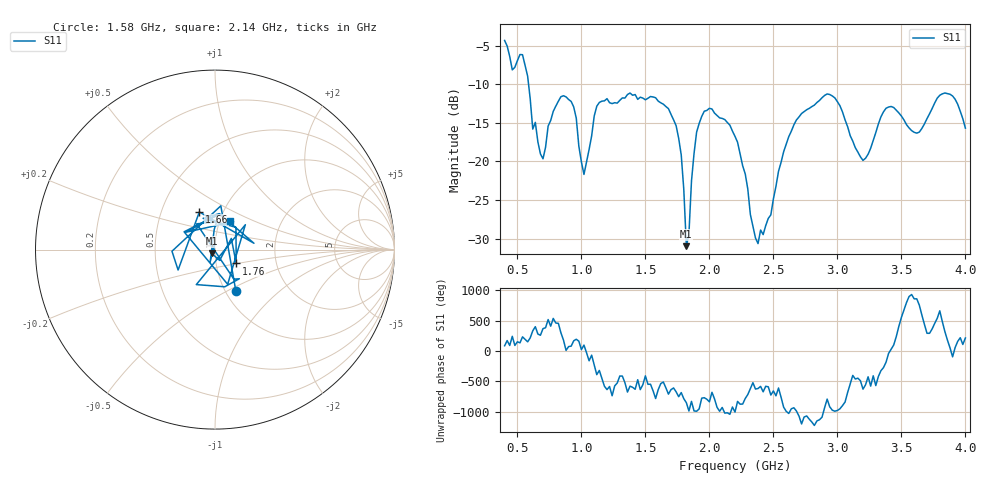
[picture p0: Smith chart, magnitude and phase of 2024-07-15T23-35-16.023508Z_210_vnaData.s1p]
!Created with skrf (http://scikit-rf.org).
# Hz S RI R 50.0
!freq ReS11 ImS11
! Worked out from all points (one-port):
!   181 points, 400 MHz to 4 GHz, reference 50 ohm
!   lowest |S11| = -31.0 dB at 1.82 GHz (marker M1), VSWR 1.06, Z = 48.1 - j2.01 ohm
!   |S11| at or under -10 dB: 587.1 MHz to end of sweep
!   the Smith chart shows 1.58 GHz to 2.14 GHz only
!   S11 on the Smith chart (normalised r, x): 1.58 GHz: 1.12, -0.55; 1.66 GHz: 0.77, +0.34; 1.76 GHz: 1.25, -0.20; 2.14 GHz: 1.12, +0.37
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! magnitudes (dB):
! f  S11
! 400 MHz  -4.3
! 460 MHz  -8.1
! 540 MHz  -6.2
! 620 MHz  -15.8
! 700 MHz  -19.7
! 860 MHz  -11.5
! 940 MHz  -12.9
! 1.02 GHz  -21.7
! 1.12 GHz  -12.8
! 1.3 GHz  -12.1
! 1.58 GHz  -11.7
! 1.66 GHz  -12.9
! 1.76 GHz  -17.0
! 1.8 GHz  -23.7
! 1.82 GHz  -31.0
! 1.88 GHz  -19.0
! 1.92 GHz  -15.1
! 2.14 GHz  -14.9
! 2.2 GHz  -16.7
! 2.38 GHz  -30.6
! 2.66 GHz  -15.3
! 2.92 GHz  -11.3
! 3.1 GHz  -16.7
! 3.2 GHz  -19.9
! 3.38 GHz  -13.1
! 3.56 GHz  -15.7
! 3.84 GHz  -11.1
! 4 GHz  -15.7
